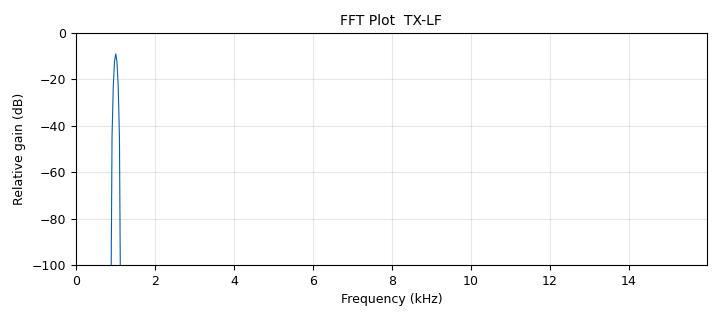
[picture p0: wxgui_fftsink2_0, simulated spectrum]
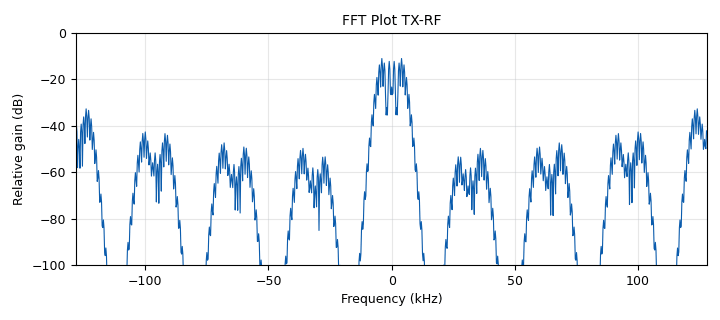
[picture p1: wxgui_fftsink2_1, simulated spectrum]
<?xml version='1.0' encoding='utf-8'?>
<?grc format='1' created='3.7.9'?>
<flow_graph>
<block>
<key>options</key>
<param><key>id</key><value>top_block</value></param>
<param><key>category</key><value>Custom</value></param>
<param><key>generate_options</key><value>wx_gui</value></param>
</block>
<block>
<key>variable</key>
<param><key>id</key><value>interpolation</value></param>
<param><key>value</key><value>8</value></param>
</block>
<block>
<key>variable</key>
<param><key>id</key><value>samp_rate</value></param>
<param><key>value</key><value>32000</value></param>
</block>
<block>
<key>variable</key>
<param><key>id</key><value>tau</value></param>
<param><key>value</key><value>50e-6</value></param>
</block>
<block>
<key>analog_nbfm_rx</key>
<param><key>id</key><value>analog_nbfm_rx_0</value></param>
<param><key>audio_rate</key><value>samp_rate</value></param>
<param><key>max_dev</key><value>5e3</value></param>
<param><key>quad_rate</key><value>samp_rate*interpolation</value></param>
<param><key>tau</key><value>tau</value></param>
</block>
<block>
<key>analog_nbfm_tx</key>
<param><key>id</key><value>analog_nbfm_tx_0</value></param>
<param><key>audio_rate</key><value>samp_rate</value></param>
<param><key>max_dev</key><value>5e3</value></param>
<param><key>quad_rate</key><value>samp_rate*interpolation</value></param>
<param><key>tau</key><value>tau</value></param>
</block>
<block>
<key>analog_sig_source_x</key>
<param><key>id</key><value>analog_sig_source_x_0</value></param>
<param><key>amp</key><value>1</value></param>
<param><key>freq</key><value>1000</value></param>
<param><key>offset</key><value>0</value></param>
<param><key>type</key><value>float</value></param>
<param><key>samp_rate</key><value>samp_rate</value></param>
<param><key>waveform</key><value>analog.GR_COS_WAVE</value></param>
</block>
<block>
<key>blocks_throttle</key>
<param><key>id</key><value>blocks_throttle_0</value></param>
<param><key>_enabled</key><value>0</value></param>
<param><key>samples_per_second</key><value>samp_rate*interpolation</value></param>
<param><key>type</key><value>complex</value></param>
</block>
<block>
<key>osmosdr_sink</key>
<param><key>id</key><value>osmosdr_sink_0</value></param>
<param><key>ant0</key><value>TX</value></param>
<param><key>bb_gain0</key><value>20</value></param>
<param><key>freq0</key><value>433e6</value></param>
<param><key>if_gain0</key><value>20</value></param>
<param><key>gain0</key><value>10</value></param>
<param><key>args</key><value>bladerf=0,fpga='/home/ubuntu/hostedx40-latest.rbf</value></param>
<param><key>type</key><value>fc32</value></param>
<param><key>sample_rate</key><value>samp_rate*interpolation</value></param>
<param><key>sync</key><value></value></param>
</block>
<block>
<key>osmosdr_source</key>
<param><key>id</key><value>osmosdr_source_0</value></param>
<param><key>bb_gain0</key><value>20</value></param>
<param><key>freq0</key><value>433e6</value></param>
<param><key>gain_mode0</key><value>False</value></param>
<param><key>if_gain0</key><value>20</value></param>
<param><key>gain0</key><value>10</value></param>
<param><key>args</key><value>bladerf=0,fpga='/home/ubuntu/hostedx40-latest.rbf</value></param>
<param><key>type</key><value>fc32</value></param>
<param><key>sample_rate</key><value>samp_rate*interpolation</value></param>
<param><key>sync</key><value></value></param>
</block>
<block>
<key>wxgui_fftsink2</key>
<param><key>id</key><value>wxgui_fftsink2_0</value></param>
<param><key>avg_alpha</key><value>0</value></param>
<param><key>average</key><value>False</value></param>
<param><key>baseband_freq</key><value>0</value></param>
<param><key>fft_size</key><value>1024</value></param>
<param><key>freqvar</key><value>None</value></param>
<param><key>peak_hold</key><value>False</value></param>
<param><key>ref_level</key><value>0</value></param>
<param><key>ref_scale</key><value>2.0</value></param>
<param><key>fft_rate</key><value>15</value></param>
<param><key>samp_rate</key><value>samp_rate</value></param>
<param><key>title</key><value>FFT Plot  TX-LF </value></param>
<param><key>type</key><value>float</value></param>
<param><key>win</key><value>None</value></param>
<param><key>y_divs</key><value>10</value></param>
<param><key>y_per_div</key><value>10</value></param>
</block>
<block>
<key>wxgui_fftsink2</key>
<param><key>id</key><value>wxgui_fftsink2_1</value></param>
<param><key>avg_alpha</key><value>0</value></param>
<param><key>average</key><value>False</value></param>
<param><key>baseband_freq</key><value>0</value></param>
<param><key>fft_size</key><value>1024</value></param>
<param><key>freqvar</key><value>None</value></param>
<param><key>peak_hold</key><value>False</value></param>
<param><key>ref_level</key><value>0</value></param>
<param><key>ref_scale</key><value>2.0</value></param>
<param><key>fft_rate</key><value>15</value></param>
<param><key>samp_rate</key><value>samp_rate*interpolation</value></param>
<param><key>title</key><value>FFT Plot TX-RF </value></param>
<param><key>type</key><value>complex</value></param>
<param><key>win</key><value>None</value></param>
<param><key>y_divs</key><value>10</value></param>
<param><key>y_per_div</key><value>10</value></param>
</block>
<block>
<key>wxgui_fftsink2</key>
<param><key>id</key><value>wxgui_fftsink2_2</value></param>
<param><key>avg_alpha</key><value>0</value></param>
<param><key>average</key><value>False</value></param>
<param><key>baseband_freq</key><value>0</value></param>
<param><key>fft_size</key><value>1024</value></param>
<param><key>freqvar</key><value>None</value></param>
<param><key>peak_hold</key><value>False</value></param>
<param><key>ref_level</key><value>0</value></param>
<param><key>ref_scale</key><value>2.0</value></param>
<param><key>fft_rate</key><value>15</value></param>
<param><key>samp_rate</key><value>samp_rate</value></param>
<param><key>title</key><value>FFT Plot RX-LF</value></param>
<param><key>type</key><value>float</value></param>
<param><key>win</key><value>None</value></param>
<param><key>y_divs</key><value>10</value></param>
<param><key>y_per_div</key><value>10</value></param>
</block>
<connection><source_block_id>analog_nbfm_rx_0</source_block_id><sink_block_id>wxgui_fftsink2_2</sink_block_id><source_key>0</source_key><sink_key>0</sink_key></connection>
<connection><source_block_id>analog_nbfm_tx_0</source_block_id><sink_block_id>blocks_throttle_0</sink_block_id><source_key>0</source_key><sink_key>0</sink_key></connection>
<connection><source_block_id>analog_nbfm_tx_0</source_block_id><sink_block_id>osmosdr_sink_0</sink_block_id><source_key>0</source_key><sink_key>0</sink_key></connection>
<connection><source_block_id>analog_nbfm_tx_0</source_block_id><sink_block_id>wxgui_fftsink2_1</sink_block_id><source_key>0</source_key><sink_key>0</sink_key></connection>
<connection><source_block_id>analog_sig_source_x_0</source_block_id><sink_block_id>analog_nbfm_tx_0</sink_block_id><source_key>0</source_key><sink_key>0</sink_key></connection>
<connection><source_block_id>analog_sig_source_x_0</source_block_id><sink_block_id>wxgui_fftsink2_0</sink_block_id><source_key>0</source_key><sink_key>0</sink_key></connection>
<connection><source_block_id>blocks_throttle_0</source_block_id><sink_block_id>analog_nbfm_rx_0</sink_block_id><source_key>0</source_key><sink_key>0</sink_key></connection>
<connection><source_block_id>osmosdr_source_0</source_block_id><sink_block_id>analog_nbfm_rx_0</sink_block_id><source_key>0</source_key><sink_key>0</sink_key></connection>
</flow_graph>
